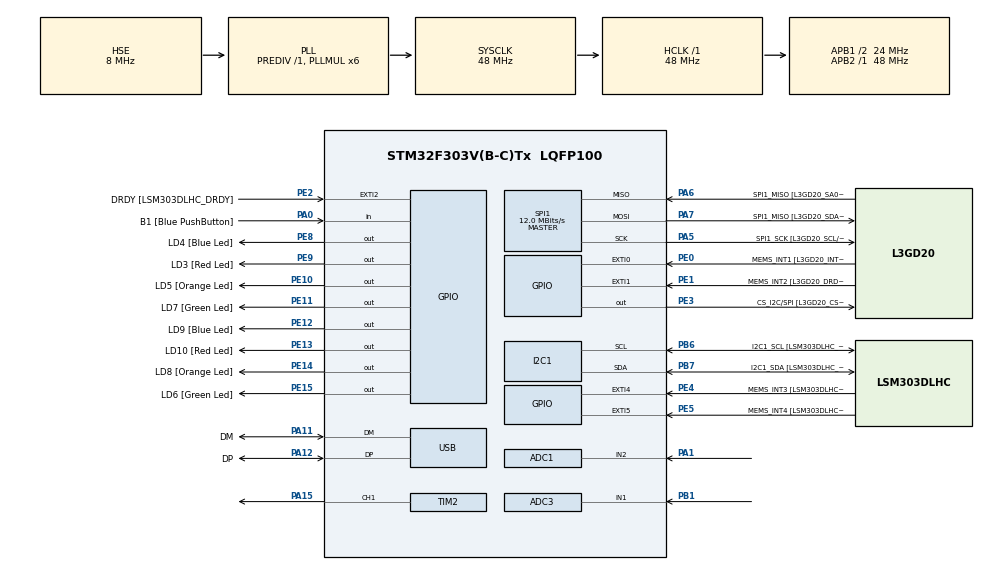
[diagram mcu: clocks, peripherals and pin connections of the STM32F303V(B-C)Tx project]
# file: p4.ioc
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ADC1.Channel-0\#ChannelRegularConversion=ADC_CHANNEL_2
ADC1.NbrOfConversion=1
ADC1.NbrOfConversionFlag=1
ADC1.Offset-0\#ChannelRegularConversion=0
ADC1.OffsetNumber-0\#ChannelRegularConversion=ADC_OFFSET_NONE
ADC1.Rank-0\#ChannelRegularConversion=1
ADC1.SamplingTime-0\#ChannelRegularConversion=ADC_SAMPLETIME_601CYCLES_5
ADC1.master=1
ADC3.Channel-0\#ChannelRegularConversion=ADC_CHANNEL_1
ADC3.NbrOfConversionFlag=1
ADC3.Offset-0\#ChannelRegularConversion=0
ADC3.OffsetNumber-0\#ChannelRegularConversion=ADC_OFFSET_NONE
ADC3.Rank-0\#ChannelRegularConversion=1
ADC3.SamplingTime-0\#ChannelRegularConversion=ADC_SAMPLETIME_601CYCLES_5
ADC3.SamplingTimeOPAMP-0\#ChannelRegularConversion=ADC_SAMPLETIME_19CYCLES_5
ADC3.master=1
I2C1.Timing=0x2000090E
I2C1.Timing-I2C=0x2000090E
Mcu.Family=STM32F3
Mcu.Name=STM32F303V(B-C)Tx
Mcu.Package=LQFP100
NVIC.ADC1_2_IRQn=true\:3\:0\:true\:false\:true\:true\:true
NVIC.ADC3_IRQn=true\:2\:0\:true\:false\:true\:true\:true
NVIC.PriorityGroup=NVIC_PRIORITYGROUP_2
NVIC.TIM2_IRQn=true\:0\:0\:true\:false\:true\:true\:true
NVIC.TIM3_IRQn=true\:1\:0\:true\:false\:true\:true\:true
NVIC.TIM4_IRQn=true\:0\:0\:false\:false\:true\:true\:true
PA0.GPIO_Label=B1 [Blue PushButton]
PA0.Signal=GPIO_Input
PA1.Mode=IN2-Single-Ended
PA1.Signal=ADC1_IN2
PA11.GPIO_Label=DM
PA11.Mode=Device
PA11.Signal=USB_DM
PA12.GPIO_Label=DP
PA12.Mode=Device
PA12.Signal=USB_DP
PA13.GPIO_Label=SWDIO
PA13.Mode=Serial_Wire
PA13.Signal=SYS_JTMS-SWDIO
PA14.GPIO_Label=SWCLK
PA14.Mode=Serial_Wire
PA14.Signal=SYS_JTCK-SWCLK
PA15.Signal=S_TIM2_CH1_ETR
PA5.GPIO_Label=SPI1_SCK [L3GD20_SCL/SPC]
PA5.Mode=Full_Duplex_Master
PA5.Signal=SPI1_SCK
PA6.GPIO_Label=SPI1_MISO [L3GD20_SA0/SDO]
PA6.Mode=Full_Duplex_Master
PA6.Signal=SPI1_MISO
PA7.GPIO_Label=SPI1_MISO [L3GD20_SDA/SDI/SDO]
PA7.Mode=Full_Duplex_Master
PA7.Signal=SPI1_MOSI
PB1.Mode=IN1-Single-Ended
PB1.Signal=ADC3_IN1
PB3.GPIO_Label=SWO
PB3.Signal=SYS_JTDO-TRACESWO
PB6.GPIO_Label=I2C1_SCL [LSM303DLHC_SCL]
PB6.GPIO_Pu=GPIO_PULLUP
PB6.Mode=I2C
PB6.Signal=I2C1_SCL
PB7.GPIO_Label=I2C1_SDA [LSM303DLHC_SDA]
PB7.GPIO_Pu=GPIO_PULLUP
PB7.Mode=I2C
PB7.Signal=I2C1_SDA
PC14-OSC32_IN.GPIO_Label=OSC32_IN
PC14-OSC32_IN.Signal=RCC_OSC32_IN
PC15-OSC32_OUT.GPIO_Label=OSC32_OUT
PC15-OSC32_OUT.Signal=RCC_OSC32_OUT
PE0.GPIO_Label=MEMS_INT1 [L3GD20_INT1]
PE0.GPIO_ModeDefaultEXTI=GPIO_MODE_EVT_RISING
PE0.Signal=GPXTI0
PE1.GPIO_Label=MEMS_INT2 [L3GD20_DRDY/INT2]
PE1.GPIO_ModeDefaultEXTI=GPIO_MODE_EVT_RISING
PE1.Signal=GPXTI1
PE10.GPIO_Label=LD5 [Orange Led]
PE10.Signal=GPIO_Output
PE11.GPIO_Label=LD7 [Green Led]
PE11.Signal=GPIO_Output
PE12.GPIO_Label=LD9 [Blue Led]
PE12.Signal=GPIO_Output
PE13.GPIO_Label=LD10 [Red Led]
PE13.Signal=GPIO_Output
PE14.GPIO_Label=LD8 [Orange Led]
PE14.Signal=GPIO_Output
PE15.GPIO_Label=LD6 [Green Led]
PE15.Signal=GPIO_Output
PE2.GPIO_Label=DRDY [LSM303DLHC_DRDY]
PE2.GPIO_ModeDefaultEXTI=GPIO_MODE_EVT_RISING
PE2.Signal=GPXTI2
PE3.GPIO_Label=CS_I2C/SPI [L3GD20_CS_I2C/SPI]
PE3.Signal=GPIO_Output
PE4.GPIO_Label=MEMS_INT3 [LSM303DLHC_INT1]
PE4.GPIO_ModeDefaultEXTI=GPIO_MODE_EVT_RISING
PE4.Signal=GPXTI4
PE5.GPIO_Label=MEMS_INT4 [LSM303DLHC_INT2]
PE5.GPIO_ModeDefaultEXTI=GPIO_MODE_EVT_RISING
PE5.Signal=GPXTI5
PE8.GPIO_Label=LD4 [Blue Led]
PE8.Signal=GPIO_Output
PE9.GPIO_Label=LD3 [Red Led]
PE9.Signal=GPIO_Output
PF0-OSC_IN.GPIO_Label=OSC_IN
PF0-OSC_IN.Mode=HSE-External-Clock-Source
PF0-OSC_IN.Signal=RCC_OSC_IN
PF1-OSC_OUT.GPIO_Label=OSC_OUT
PF1-OSC_OUT.Signal=RCC_OSC_OUT
ProjectManager.HeapSize=0x200
ProjectManager.StackSize=0x400
ProjectManager.TargetToolchain=STM32CubeIDE
RCC.AHBFreq_Value=48000000
RCC.APB1CLKDivider=RCC_HCLK_DIV2
RCC.APB1Freq_Value=24000000
RCC.APB1TimFreq_Value=48000000
RCC.APB2Freq_Value=48000000
RCC.APB2TimFreq_Value=48000000
RCC.CortexFreq_Value=48000000
RCC.HCLKFreq_Value=48000000
RCC.HSE_VALUE=8000000
RCC.HSI_VALUE=8000000
RCC.LSE_VALUE=32768
RCC.PLLMUL=RCC_PLL_MUL6
RCC.SYSCLKFreq_VALUE=48000000
RCC.SYSCLKSourceVirtual=RCC_SYSCLKSOURCE_PLLCLK
RCC.USBFreq_Value=48000000
SH.S_TIM2_CH1_ETR.0=TIM2_CH1,PWM Generation1 CH1
SPI1.BaudRatePrescaler=SPI_BAUDRATEPRESCALER_4
SPI1.BaudRatePrescaler-Full_Duplex_Master=SPI_BAUDRATEPRESCALER_2
SPI1.CalculateBaudRate=12.0 MBits/s
SPI1.CalculateBaudRate-Full_Duplex_Master=24.0 MBits/s
SPI1.Direction=SPI_DIRECTION_2LINES
SPI1.Mode=SPI_MODE_MASTER
SPI1.Mode-Full_Duplex_Master=SPI_MODE_MASTER
SPI1.VirtualType=VM_MASTER
TIM2.Channel-PWM\ Generation1\ CH1=TIM_CHANNEL_1
TIM2.Period=9
TIM2.Prescaler=47
TIM3.Period=9
TIM3.Prescaler=47
TIM4.Period=9999
TIM4.Prescaler=4799
VP_TIM2_VS_ClockSourceINT.Mode=Internal
VP_TIM3_VS_ClockSourceINT.Mode=Internal
VP_TIM4_VS_ClockSourceINT.Mode=Internal
board=STM32F3DISCOVERY

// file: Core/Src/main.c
/* USER CODE BEGIN Header */
/**
  ******************************************************************************
  * @file           : main.c
  * @brief          : Main program body
  ******************************************************************************
  * @attention
  *
  * <h2><center>&copy; Copyright (c) 2022 STMicroelectronics.
  * All rights reserved.</center></h2>
  *
  * This software component is licensed by ST under BSD 3-Clause license,
  * the "License"; You may not use this file except in compliance with the
  * License. You may obtain a copy of the License at:
  *                        opensource.org/licenses/BSD-3-Clause
  *
  ******************************************************************************
  */
/* USER CODE END Header */
#include "main.h"

ADC_HandleTypeDef hadc1;
ADC_HandleTypeDef hadc3;

I2C_HandleTypeDef hi2c1;

SPI_HandleTypeDef hspi1;

TIM_HandleTypeDef htim2;
TIM_HandleTypeDef htim3;
TIM_HandleTypeDef htim4;

PCD_HandleTypeDef hpcd_USB_FS;

void SystemClock_Config(void);
static void MX_GPIO_Init(void);
static void MX_I2C1_Init(void);
static void MX_SPI1_Init(void);
static void MX_USB_PCD_Init(void);
static void MX_ADC1_Init(void);
static void MX_TIM2_Init(void);
static void MX_ADC3_Init(void);
static void MX_TIM3_Init(void);
static void MX_TIM4_Init(void);

/* USER CODE BEGIN 0 */
void initForSevenSeg() {

	__HAL_RCC_GPIOC_CLK_ENABLE();
	GPIO_InitTypeDef temp;
	temp.Pin = GPIO_PIN_0 | GPIO_PIN_1 | GPIO_PIN_2 | GPIO_PIN_3 | GPIO_PIN_4 | GPIO_PIN_5 | GPIO_PIN_6 | GPIO_PIN_7 | GPIO_PIN_8 ;
	temp.Mode = GPIO_MODE_OUTPUT_PP;
	temp.Speed = GPIO_SPEED_FREQ_HIGH;
	HAL_GPIO_Init(GPIOC, &temp);
}

void numberToBCD0(int number)
{
	int x1 = number&1;
	int x2 = number&2;
	int x3 = number&4;
	int x4 = number&8;

	if (x1 > 0) x1 = 1;
	if (x2 > 0) x2 = 1;
	if (x3 > 0) x3 = 1;
	if (x4 > 0) x4 = 1;

	HAL_GPIO_WritePin(GPIOC, GPIO_PIN_0, x1);
	HAL_GPIO_WritePin(GPIOC, GPIO_PIN_1, x2);
	HAL_GPIO_WritePin(GPIOC, GPIO_PIN_2, x3);
	HAL_GPIO_WritePin(GPIOC, GPIO_PIN_3, x4);

}

int x = 0;
void show(int num1, int num2) {

	x++;
	if( x == 100 ) {
		HAL_GPIO_WritePin(GPIOC, GPIO_PIN_4 | GPIO_PIN_5 | GPIO_PIN_6 | GPIO_PIN_7 , 1);
		HAL_GPIO_WritePin(GPIOC, GPIO_PIN_7 | GPIO_PIN_8, 0);
		numberToBCD0( num1  % 10 );
	}

	if ( x == 200 ) {
		HAL_GPIO_WritePin(GPIOC, GPIO_PIN_4 | GPIO_PIN_5 | GPIO_PIN_6 |GPIO_PIN_7, 1);
		HAL_GPIO_WritePin(GPIOC, GPIO_PIN_6 | GPIO_PIN_8, 0);
		numberToBCD0( num1 / 10 );
	}

	if ( x == 300 ) {
		HAL_GPIO_WritePin(GPIOC, GPIO_PIN_4 | GPIO_PIN_5 | GPIO_PIN_6 | GPIO_PIN_7, 1);
		HAL_GPIO_WritePin(GPIOC, GPIO_PIN_5 | GPIO_PIN_8, 0);
		numberToBCD0( num2  % 10 );
	}

	if ( x == 400 ) {
		HAL_GPIO_WritePin(GPIOC, GPIO_PIN_4 | GPIO_PIN_5 | GPIO_PIN_6 | GPIO_PIN_7, 1);
		HAL_GPIO_WritePin(GPIOC, GPIO_PIN_4 | GPIO_PIN_8, 0);
		numberToBCD0( num2 / 10 );
		x=0;
	}
}

/* USER CODE END 0 */

int main(void)
{

  /* MCU Configuration--------------------------------------------------------*/

  /* Reset of all peripherals, Initializes the Flash interface and the Systick. */
  HAL_Init();

  /* Configure the system clock */
  SystemClock_Config();

  /* Initialize all configured peripherals */
  MX_GPIO_Init();
  MX_I2C1_Init();
  MX_SPI1_Init();
  MX_USB_PCD_Init();
  MX_ADC1_Init();
  MX_TIM2_Init();
  MX_ADC3_Init();
  MX_TIM3_Init();
  MX_TIM4_Init();
  /* USER CODE BEGIN 2 */

  	initForSevenSeg();

  	HAL_TIM_Base_Start_IT(&htim4);
  	HAL_TIM_Base_Start_IT(&htim3);
	HAL_ADC_Start_IT(&hadc1);
	HAL_ADC_Start_IT(&hadc3);

  /* USER CODE END 2 */

  /* Infinite loop */
  while (1)
  {

  }
}

void SystemClock_Config(void)
{
  RCC_OscInitTypeDef RCC_OscInitStruct = {0};
  RCC_ClkInitTypeDef RCC_ClkInitStruct = {0};
  RCC_PeriphCLKInitTypeDef PeriphClkInit = {0};

  /** Initializes the RCC Oscillators according to the specified parameters
  * in the RCC_OscInitTypeDef structure.
  */
  RCC_OscInitStruct.OscillatorType = RCC_OSCILLATORTYPE_HSI|RCC_OSCILLATORTYPE_HSE;
  RCC_OscInitStruct.HSEState = RCC_HSE_BYPASS;
  RCC_OscInitStruct.HSEPredivValue = RCC_HSE_PREDIV_DIV1;
  RCC_OscInitStruct.HSIState = RCC_HSI_ON;
  RCC_OscInitStruct.HSICalibrationValue = RCC_HSICALIBRATION_DEFAULT;
  RCC_OscInitStruct.PLL.PLLState = RCC_PLL_ON;
  RCC_OscInitStruct.PLL.PLLSource = RCC_PLLSOURCE_HSE;
  RCC_OscInitStruct.PLL.PLLMUL = RCC_PLL_MUL6;
  if (HAL_RCC_OscConfig(&RCC_OscInitStruct) != HAL_OK)
  {
    Error_Handler();
  }
  /** Initializes the CPU, AHB and APB buses clocks
  */
  RCC_ClkInitStruct.ClockType = RCC_CLOCKTYPE_HCLK|RCC_CLOCKTYPE_SYSCLK
                              |RCC_CLOCKTYPE_PCLK1|RCC_CLOCKTYPE_PCLK2;
  RCC_ClkInitStruct.SYSCLKSource = RCC_SYSCLKSOURCE_PLLCLK;
  RCC_ClkInitStruct.AHBCLKDivider = RCC_SYSCLK_DIV1;
  RCC_ClkInitStruct.APB1CLKDivider = RCC_HCLK_DIV2;
  RCC_ClkInitStruct.APB2CLKDivider = RCC_HCLK_DIV1;

  if (HAL_RCC_ClockConfig(&RCC_ClkInitStruct, FLASH_LATENCY_1) != HAL_OK)
  {
    Error_Handler();
  }
  PeriphClkInit.PeriphClockSelection = RCC_PERIPHCLK_USB|RCC_PERIPHCLK_I2C1
                              |RCC_PERIPHCLK_ADC12|RCC_PERIPHCLK_ADC34;
  PeriphClkInit.Adc12ClockSelection = RCC_ADC12PLLCLK_DIV1;
  PeriphClkInit.Adc34ClockSelection = RCC_ADC34PLLCLK_DIV1;
  PeriphClkInit.I2c1ClockSelection = RCC_I2C1CLKSOURCE_HSI;
  PeriphClkInit.USBClockSelection = RCC_USBCLKSOURCE_PLL;
  if (HAL_RCCEx_PeriphCLKConfig(&PeriphClkInit) != HAL_OK)
  {
    Error_Handler();
  }
}

static void MX_ADC1_Init(void)
{

  ADC_MultiModeTypeDef multimode = {0};
  ADC_ChannelConfTypeDef sConfig = {0};

  /** Common config
  */
  hadc1.Instance = ADC1;
  hadc1.Init.ClockPrescaler = ADC_CLOCK_ASYNC_DIV1;
  hadc1.Init.Resolution = ADC_RESOLUTION_12B;
  hadc1.Init.ScanConvMode = ADC_SCAN_DISABLE;
  hadc1.Init.ContinuousConvMode = DISABLE;
  hadc1.Init.DiscontinuousConvMode = DISABLE;
  hadc1.Init.ExternalTrigConvEdge = ADC_EXTERNALTRIGCONVEDGE_NONE;
  hadc1.Init.ExternalTrigConv = ADC_SOFTWARE_START;
  hadc1.Init.DataAlign = ADC_DATAALIGN_RIGHT;
  hadc1.Init.NbrOfConversion = 1;
  hadc1.Init.DMAContinuousRequests = DISABLE;
  hadc1.Init.EOCSelection = ADC_EOC_SINGLE_CONV;
  hadc1.Init.LowPowerAutoWait = DISABLE;
  hadc1.Init.Overrun = ADC_OVR_DATA_OVERWRITTEN;
  if (HAL_ADC_Init(&hadc1) != HAL_OK)
  {
    Error_Handler();
  }
  /** Configure the ADC multi-mode
  */
  multimode.Mode = ADC_MODE_INDEPENDENT;
  if (HAL_ADCEx_MultiModeConfigChannel(&hadc1, &multimode) != HAL_OK)
  {
    Error_Handler();
  }
  /** Configure Regular Channel
  */
  sConfig.Channel = ADC_CHANNEL_2;
  sConfig.Rank = ADC_REGULAR_RANK_1;
  sConfig.SingleDiff = ADC_SINGLE_ENDED;
  sConfig.SamplingTime = ADC_SAMPLETIME_601CYCLES_5;
  sConfig.OffsetNumber = ADC_OFFSET_NONE;
  sConfig.Offset = 0;
  if (HAL_ADC_ConfigChannel(&hadc1, &sConfig) != HAL_OK)
  {
    Error_Handler();
  }

}

static void MX_ADC3_Init(void)
{

  ADC_MultiModeTypeDef multimode = {0};
  ADC_ChannelConfTypeDef sConfig = {0};

  /** Common config
  */
  hadc3.Instance = ADC3;
  hadc3.Init.ClockPrescaler = ADC_CLOCK_ASYNC_DIV1;
  hadc3.Init.Resolution = ADC_RESOLUTION_12B;
  hadc3.Init.ScanConvMode = ADC_SCAN_DISABLE;
  hadc3.Init.ContinuousConvMode = DISABLE;
  hadc3.Init.DiscontinuousConvMode = DISABLE;
  hadc3.Init.ExternalTrigConvEdge = ADC_EXTERNALTRIGCONVEDGE_NONE;
  hadc3.Init.ExternalTrigConv = ADC_SOFTWARE_START;
  hadc3.Init.DataAlign = ADC_DATAALIGN_RIGHT;
  hadc3.Init.NbrOfConversion = 1;
  hadc3.Init.DMAContinuousRequests = DISABLE;
  hadc3.Init.EOCSelection = ADC_EOC_SINGLE_CONV;
  hadc3.Init.LowPowerAutoWait = DISABLE;
  hadc3.Init.Overrun = ADC_OVR_DATA_OVERWRITTEN;
  if (HAL_ADC_Init(&hadc3) != HAL_OK)
  {
    Error_Handler();
  }
  /** Configure the ADC multi-mode
  */
  multimode.Mode = ADC_MODE_INDEPENDENT;
  if (HAL_ADCEx_MultiModeConfigChannel(&hadc3, &multimode) != HAL_OK)
  {
    Error_Handler();
  }
  /** Configure Regular Channel
  */
  sConfig.Channel = ADC_CHANNEL_1;
  sConfig.Rank = ADC_REGULAR_RANK_1;
  sConfig.SingleDiff = ADC_SINGLE_ENDED;
  sConfig.SamplingTime = ADC_SAMPLETIME_601CYCLES_5;
  sConfig.OffsetNumber = ADC_OFFSET_NONE;
  sConfig.Offset = 0;
  if (HAL_ADC_ConfigChannel(&hadc3, &sConfig) != HAL_OK)
  {
    Error_Handler();
  }

}

static void MX_I2C1_Init(void)
{

  hi2c1.Instance = I2C1;
  hi2c1.Init.Timing = 0x2000090E;
  hi2c1.Init.OwnAddress1 = 0;
  hi2c1.Init.AddressingMode = I2C_ADDRESSINGMODE_7BIT;
  hi2c1.Init.DualAddressMode = I2C_DUALADDRESS_DISABLE;
  hi2c1.Init.OwnAddress2 = 0;
  hi2c1.Init.OwnAddress2Masks = I2C_OA2_NOMASK;
  hi2c1.Init.GeneralCallMode = I2C_GENERALCALL_DISABLE;
  hi2c1.Init.NoStretchMode = I2C_NOSTRETCH_DISABLE;
  if (HAL_I2C_Init(&hi2c1) != HAL_OK)
  {
    Error_Handler();
  }
  /** Configure Analogue filter
  */
  if (HAL_I2CEx_ConfigAnalogFilter(&hi2c1, I2C_ANALOGFILTER_ENABLE) != HAL_OK)
  {
    Error_Handler();
  }
  /** Configure Digital filter
  */
  if (HAL_I2CEx_ConfigDigitalFilter(&hi2c1, 0) != HAL_OK)
  {
    Error_Handler();
  }

}

static void MX_SPI1_Init(void)
{

  /* SPI1 parameter configuration*/
  hspi1.Instance = SPI1;
  hspi1.Init.Mode = SPI_MODE_MASTER;
  hspi1.Init.Direction = SPI_DIRECTION_2LINES;
  hspi1.Init.DataSize = SPI_DATASIZE_4BIT;
  hspi1.Init.CLKPolarity = SPI_POLARITY_LOW;
  hspi1.Init.CLKPhase = SPI_PHASE_1EDGE;
  hspi1.Init.NSS = SPI_NSS_SOFT;
  hspi1.Init.BaudRatePrescaler = SPI_BAUDRATEPRESCALER_4;
  hspi1.Init.FirstBit = SPI_FIRSTBIT_MSB;
  hspi1.Init.TIMode = SPI_TIMODE_DISABLE;
  hspi1.Init.CRCCalculation = SPI_CRCCALCULATION_DISABLE;
  hspi1.Init.CRCPolynomial = 7;
  hspi1.Init.CRCLength = SPI_CRC_LENGTH_DATASIZE;
  hspi1.Init.NSSPMode = SPI_NSS_PULSE_ENABLE;
  if (HAL_SPI_Init(&hspi1) != HAL_OK)
  {
    Error_Handler();
  }

}

static void MX_TIM2_Init(void)
{

  TIM_ClockConfigTypeDef sClockSourceConfig = {0};
  TIM_MasterConfigTypeDef sMasterConfig = {0};
  TIM_OC_InitTypeDef sConfigOC = {0};

  htim2.Instance = TIM2;
  htim2.Init.Prescaler = 47;
  htim2.Init.CounterMode = TIM_COUNTERMODE_UP;
  htim2.Init.Period = 9;
  htim2.Init.ClockDivision = TIM_CLOCKDIVISION_DIV1;
  htim2.Init.AutoReloadPreload = TIM_AUTORELOAD_PRELOAD_DISABLE;
  if (HAL_TIM_Base_Init(&htim2) != HAL_OK)
  {
    Error_Handler();
  }
  sClockSourceConfig.ClockSource = TIM_CLOCKSOURCE_INTERNAL;
  if (HAL_TIM_ConfigClockSource(&htim2, &sClockSourceConfig) != HAL_OK)
  {
    Error_Handler();
  }
  if (HAL_TIM_PWM_Init(&htim2) != HAL_OK)
  {
    Error_Handler();
  }
  sMasterConfig.MasterOutputTrigger = TIM_TRGO_RESET;
  sMasterConfig.MasterSlaveMode = TIM_MASTERSLAVEMODE_DISABLE;
  if (HAL_TIMEx_MasterConfigSynchronization(&htim2, &sMasterConfig) != HAL_OK)
  {
    Error_Handler();
  }
  sConfigOC.OCMode = TIM_OCMODE_PWM1;
  sConfigOC.Pulse = 0;
  sConfigOC.OCPolarity = TIM_OCPOLARITY_HIGH;
  sConfigOC.OCFastMode = TIM_OCFAST_DISABLE;
  if (HAL_TIM_PWM_ConfigChannel(&htim2, &sConfigOC, TIM_CHANNEL_1) != HAL_OK)
  {
    Error_Handler();
  }
  HAL_TIM_MspPostInit(&htim2);

}

static void MX_TIM3_Init(void)
{

  TIM_ClockConfigTypeDef sClockSourceConfig = {0};
  TIM_MasterConfigTypeDef sMasterConfig = {0};

  htim3.Instance = TIM3;
  htim3.Init.Prescaler = 47;
  htim3.Init.CounterMode = TIM_COUNTERMODE_UP;
  htim3.Init.Period = 9;
  htim3.Init.ClockDivision = TIM_CLOCKDIVISION_DIV1;
  htim3.Init.AutoReloadPreload = TIM_AUTORELOAD_PRELOAD_DISABLE;
  if (HAL_TIM_Base_Init(&htim3) != HAL_OK)
  {
    Error_Handler();
  }
  sClockSourceConfig.ClockSource = TIM_CLOCKSOURCE_INTERNAL;
  if (HAL_TIM_ConfigClockSource(&htim3, &sClockSourceConfig) != HAL_OK)
  {
    Error_Handler();
  }
  sMasterConfig.MasterOutputTrigger = TIM_TRGO_RESET;
  sMasterConfig.MasterSlaveMode = TIM_MASTERSLAVEMODE_DISABLE;
  if (HAL_TIMEx_MasterConfigSynchronization(&htim3, &sMasterConfig) != HAL_OK)
  {
    Error_Handler();
  }

}

static void MX_TIM4_Init(void)
{

  TIM_ClockConfigTypeDef sClockSourceConfig = {0};
  TIM_MasterConfigTypeDef sMasterConfig = {0};

  htim4.Instance = TIM4;
  htim4.Init.Prescaler = 4799;
  htim4.Init.CounterMode = TIM_COUNTERMODE_UP;
  htim4.Init.Period = 9999;
  htim4.Init.ClockDivision = TIM_CLOCKDIVISION_DIV1;
  htim4.Init.AutoReloadPreload = TIM_AUTORELOAD_PRELOAD_DISABLE;
  if (HAL_TIM_Base_Init(&htim4) != HAL_OK)
  {
    Error_Handler();
  }
  sClockSourceConfig.ClockSource = TIM_CLOCKSOURCE_INTERNAL;
  if (HAL_TIM_ConfigClockSource(&htim4, &sClockSourceConfig) != HAL_OK)
  {
    Error_Handler();
  }
  sMasterConfig.MasterOutputTrigger = TIM_TRGO_RESET;
  sMasterConfig.MasterSlaveMode = TIM_MASTERSLAVEMODE_DISABLE;
  if (HAL_TIMEx_MasterConfigSynchronization(&htim4, &sMasterConfig) != HAL_OK)
  {
    Error_Handler();
  }

}

static void MX_USB_PCD_Init(void)
{

  hpcd_USB_FS.Instance = USB;
  hpcd_USB_FS.Init.dev_endpoints = 8;
  hpcd_USB_FS.Init.speed = PCD_SPEED_FULL;
  hpcd_USB_FS.Init.phy_itface = PCD_PHY_EMBEDDED;
  hpcd_USB_FS.Init.low_power_enable = DISABLE;
  hpcd_USB_FS.Init.battery_charging_enable = DISABLE;
  if (HAL_PCD_Init(&hpcd_USB_FS) != HAL_OK)
  {
    Error_Handler();
  }

}

static void MX_GPIO_Init(void)
{
  GPIO_InitTypeDef GPIO_InitStruct = {0};

  /* GPIO Ports Clock Enable */
  __HAL_RCC_GPIOE_CLK_ENABLE();
  __HAL_RCC_GPIOC_CLK_ENABLE();
  __HAL_RCC_GPIOF_CLK_ENABLE();
  __HAL_RCC_GPIOA_CLK_ENABLE();
  __HAL_RCC_GPIOB_CLK_ENABLE();

  /*Configure GPIO pin Output Level */
  HAL_GPIO_WritePin(GPIOE, CS_I2C_SPI_Pin|LD4_Pin|LD3_Pin|LD5_Pin
                          |LD7_Pin|LD9_Pin|LD10_Pin|LD8_Pin
                          |LD6_Pin, GPIO_PIN_RESET);

  /*Configure GPIO pins : DRDY_Pin MEMS_INT3_Pin MEMS_INT4_Pin MEMS_INT1_Pin
                           MEMS_INT2_Pin */
  GPIO_InitStruct.Pin = DRDY_Pin|MEMS_INT3_Pin|MEMS_INT4_Pin|MEMS_INT1_Pin
                          |MEMS_INT2_Pin;
  GPIO_InitStruct.Mode = GPIO_MODE_EVT_RISING;
  GPIO_InitStruct.Pull = GPIO_NOPULL;
  HAL_GPIO_Init(GPIOE, &GPIO_InitStruct);

  /*Configure GPIO pins : CS_I2C_SPI_Pin LD4_Pin LD3_Pin LD5_Pin
                           LD7_Pin LD9_Pin LD10_Pin LD8_Pin
                           LD6_Pin */
  GPIO_InitStruct.Pin = CS_I2C_SPI_Pin|LD4_Pin|LD3_Pin|LD5_Pin
                          |LD7_Pin|LD9_Pin|LD10_Pin|LD8_Pin
                          |LD6_Pin;
  GPIO_InitStruct.Mode = GPIO_MODE_OUTPUT_PP;
  GPIO_InitStruct.Pull = GPIO_NOPULL;
  GPIO_InitStruct.Speed = GPIO_SPEED_FREQ_LOW;
  HAL_GPIO_Init(GPIOE, &GPIO_InitStruct);

  /*Configure GPIO pin : B1_Pin */
  GPIO_InitStruct.Pin = B1_Pin;
  GPIO_InitStruct.Mode = GPIO_MODE_INPUT;
  GPIO_InitStruct.Pull = GPIO_NOPULL;
  HAL_GPIO_Init(B1_GPIO_Port, &GPIO_InitStruct);

}

void Error_Handler(void)
{
  __disable_irq();
  while (1)
  {
  }
}

/************************ (C) COPYRIGHT STMicroelectronics *****END OF FILE****/
